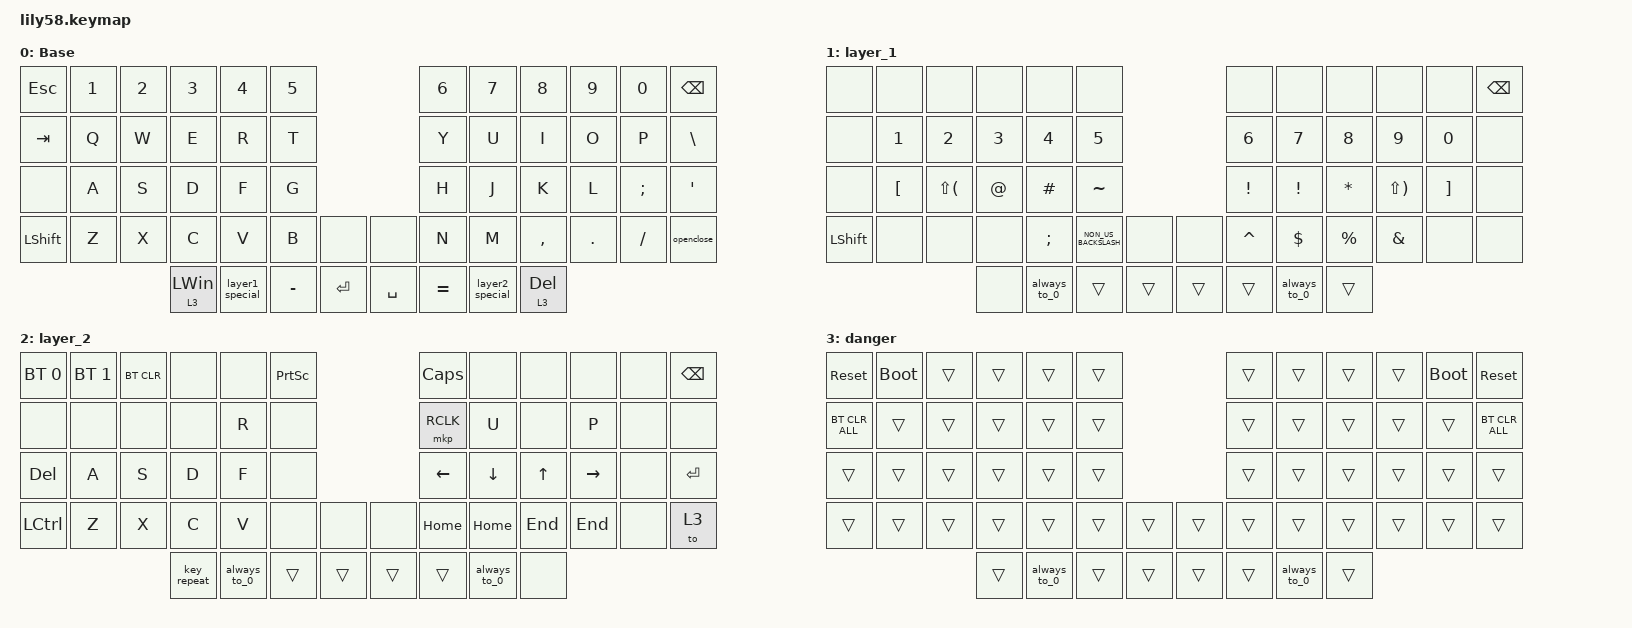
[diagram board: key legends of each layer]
/*
 * Copyright (c) 2020 The ZMK Contributors
 *
 * SPDX-License-Identifier: MIT
 */

#include <behaviors.dtsi>
#include <dt-bindings/zmk/bt.h>
#include <dt-bindings/zmk/keys.h>
#include <dt-bindings/zmk/pointing.h>

/ {
    macros {
        parenthesis: parenthesis {
            compatible = "zmk,behavior-macro";
            #binding-cells = <0>;
            bindings = <&kp LPAR &kp RPAR &kp LEFT_ARROW>;
            label = "PARENTHESIS";
        };

        curlybraces: curlybraces {
            compatible = "zmk,behavior-macro";
            #binding-cells = <0>;
            bindings = <&kp LS(LEFT_BRACE) &kp LS(RIGHT_BRACE) &kp LEFT_ARROW>;
            label = "CURLYBRACES";
        };
    };

    behaviors {
        layer1_special: layer1_special {
            compatible = "zmk,behavior-tap-dance";
            label = "LAYER1_SPECIAL";
            #binding-cells = <0>;
            bindings = <&sl 1>, <&to 1>, <&to 0>;

            tapping-term-ms = <500>;
        };

        layer2_special: layer2_special {
            compatible = "zmk,behavior-tap-dance";
            label = "LAYER2_SPECIAL";
            #binding-cells = <0>;
            bindings = <&sl 2>, <&to 2>, <&to 0>;

            tapping-term-ms = <500>;
        };

        always_to_0: always_to_0 {
            compatible = "zmk,behavior-tap-dance";
            label = "ALWAYS_TO_0";
            #binding-cells = <0>;
            bindings = <&to 0>, <&to 0>, <&to 0>;

            tapping-term-ms = <500>;
        };

        openclose: openclose {
            compatible = "zmk,behavior-mod-morph";
            label = "OPENCLOSE";
            bindings = <&parenthesis>, <&curlybraces>;

            #binding-cells = <0>;
            mods = <(MOD_LSFT|MOD_LCTL)>;
        };

        windows_or_danger: windows_or_danger {
            compatible = "zmk,behavior-hold-tap";
            label = "WINDOWS_OR_DANGER";
            bindings = <&to>, <&kp>;

            #binding-cells = <2>;
            flavor = "balanced";
            require-prior-idle-ms = <10>;
            quick-tap-ms = <1000>;
            tapping-term-ms = <10000>;
        };

        delete_or_danger: delete_or_danger {
            compatible = "zmk,behavior-hold-tap";
            label = "DELETE_OR_DANGER";
            bindings = <&to>, <&kp>;

            #binding-cells = <2>;
            flavor = "balanced";
            require-prior-idle-ms = <10>;
            quick-tap-ms = <50>;
            tapping-term-ms = <10000>;
        };

        new_behavior: new_behavior {
            compatible = "zmk,behavior-hold-tap";
            label = "NEW_BEHAVIOR";
            bindings = <&to>, <&kp>;

            #binding-cells = <2>;
            hold-trigger-on-release;
            flavor = "balanced";
            require-prior-idle-ms = <10>;
            quick-tap-ms = <1000>;
            tapping-term-ms = <10000>;
        };
    };

    keymap {
        compatible = "zmk,keymap";

        default_layer {
            // ------------------------------------------------------------------------------------------------------------
            // |  ESC  |  1  |  2  |  3   |  4   |  5   |                   |  6   |  7    |  8    |  9   |   0   |   `   |
            // |  TAB  |  Q  |  W  |  E   |  R   |  T   |                   |  Y   |  U    |  I    |  O   |   P   |   -   |
            // |  CTRL |  A  |  S  |  D   |  F   |  G   |                   |  H   |  J    |  K    |  L   |   ;   |   '   |
            // | SHIFT |  Z  |  X  |  C   |  V   |  B   |   "["  |  |  "]"  |  N   |  M    |  ,    |  .   |   /   | SHIFT |
            //                     | ALT  | GUI  | LOWER|  SPACE |  | ENTER | RAISE| BSPC  | GUI   |

            display-name = "Base";
            bindings = <
&kp ESCAPE  &kp N1  &kp N2  &kp N3                         &kp N4           &kp N5                             &kp N6     &kp N7           &kp N8                      &kp N9   &kp N0    &kp BACKSPACE
&kp TAB     &kp Q   &kp W   &kp E                          &kp R            &kp T                              &kp Y      &kp U            &kp I                       &kp O    &kp P     &kp BACKSLASH
&none       &kp A   &kp S   &kp D                          &kp F            &kp G                              &kp H      &kp J            &kp K                       &kp L    &kp SEMI  &kp SINGLE_QUOTE
&kp LSHFT   &kp Z   &kp X   &kp C                          &kp V            &kp B      &none        &none      &kp N      &kp M            &kp COMMA                   &kp DOT  &kp FSLH  &openclose
                            &windows_or_danger 3 LEFT_WIN  &layer1_special  &kp MINUS  &kp ENTER    &kp SPACE  &kp EQUAL  &layer2_special  &delete_or_danger 3 DELETE
            >;
        };

        layer_1 {
            bindings = <
&none           &none             &none                     &none   &none          &none                                   &none            &none         &none         &none          &none     &kp BACKSPACE
&none           &kp N1            &kp N2                    &kp N3  &kp N4         &kp N5                                  &kp N6           &kp N7        &kp N8        &kp N9         &kp N0    &none
&none           &kp LEFT_BRACKET  &kp LS(LEFT_PARENTHESIS)  &kp AT  &kp HASH       &kp TILDE                               &kp EXCLAMATION  &kp EXCL      &kp ASTERISK  &kp LS(RPAR)   &kp RBKT  &none
&kp LEFT_SHIFT  &none             &none                     &none   &kp SEMICOLON  &kp NON_US_BACKSLASH  &none     &none   &kp CARET        &kp DOLLAR    &kp PERCENT   &kp AMPERSAND  &none     &none
                                                            &none   &always_to_0   &trans                &trans    &trans  &trans           &always_to_0  &trans
            >;
        };

        layer_2 {
            bindings = <
&bt BT_SEL 0      &bt BT_SEL 1  &bt BT_CLR  &none        &none         &kp PRINTSCREEN                    &kp CAPSLOCK  &none         &none    &none      &none  &kp BACKSPACE
&none             &none         &none       &none        &kp R         &none                              &mkp RCLK     &kp U         &none    &kp P      &none  &none
&kp DELETE        &kp A         &kp S       &kp D        &kp F         &none                              &kp LEFT      &kp DOWN      &kp UP   &kp RIGHT  &none  &kp RETURN
&kp LEFT_CONTROL  &kp Z         &kp X       &kp C        &kp V         &none            &none     &none   &kp HOME      &kp HOME      &kp END  &kp END    &none  &to 3
                                            &key_repeat  &always_to_0  &trans           &trans    &trans  &trans        &always_to_0  &none
            >;
        };

        danger {
            bindings = <
&sys_reset      &bootloader  &trans  &trans  &trans        &trans                    &trans  &trans        &trans  &trans  &bootloader  &sys_reset
&bt BT_CLR_ALL  &trans       &trans  &trans  &trans        &trans                    &trans  &trans        &trans  &trans  &trans       &bt BT_CLR_ALL
&trans          &trans       &trans  &trans  &trans        &trans                    &trans  &trans        &trans  &trans  &trans       &trans
&trans          &trans       &trans  &trans  &trans        &trans  &trans    &trans  &trans  &trans        &trans  &trans  &trans       &trans
                                     &trans  &always_to_0  &trans  &trans    &trans  &trans  &always_to_0  &trans
            >;
        };
    };
};
